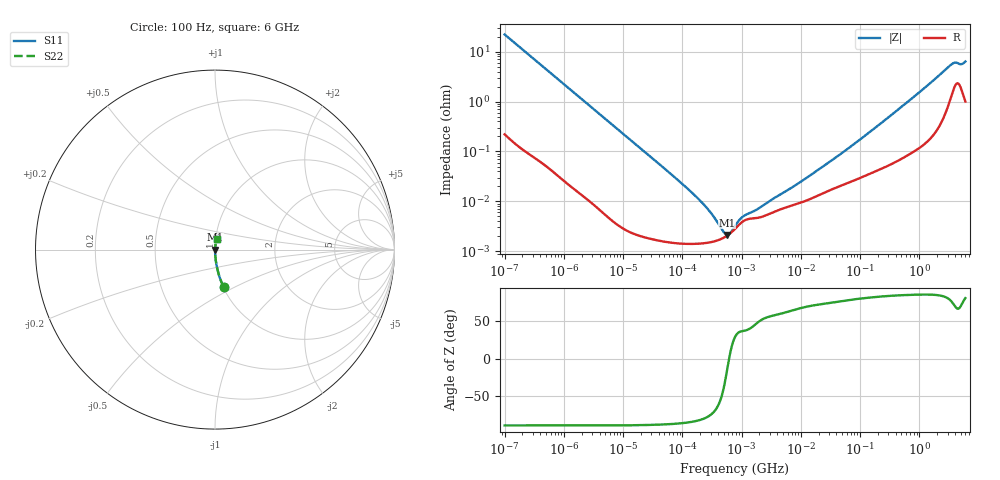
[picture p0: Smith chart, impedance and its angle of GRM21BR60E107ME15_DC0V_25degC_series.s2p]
!Murata Part Number: GRM21BR60E107ME15
!These Parameters are Measured in Series Mode Connection
!  o--ll--o
!Port1  Port2
!  o------o
!Operation Temp=25[degC], DC Bias Voltage=0[V]
!Freq. Start=100[Hz] Stop=6[GHz], 401[Steps]
!Data Generated on Oct 1, 2020
# Hz S RI R 50
!Freq.(Hz) S11(Real) S11(Imag) S21(Real) S21(Imag) S12(Real) S12(Imag) S22(Real) S22(Imag)
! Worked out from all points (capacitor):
!   401 points, 100 Hz to 6 GHz, reference 50 ohm
!   read as one part in series: C = 71.9 uF near 109.4 Hz
!   lowest |Z| = 2.14 mohm at 566.2 kHz (marker M1)
!   series resonance near 616.2 kHz, so ESL is about 930 pH
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100  0.0484 -0.2098  0.9516 0.2098  0.9516 0.2098  0.0484 -0.2098
187.1696  0.0149 -0.1165  0.9851 0.1165  0.9851 0.1165  0.0149 -0.1165
334.9849  0.0051 -0.066  0.9949 0.066  0.9949 0.066  0.0051 -0.066
717.1279  0.00133 -0.0312  0.9987 0.0312  0.9987 0.0312  0.00133 -0.0312
2008.354  0.00026 -0.0112  0.9997 0.0112  0.9997 0.0112  0.00026 -0.0112
40334.87  1.66e-05 -0.000565  1 0.000565  1 0.000565  1.66e-05 -0.000565
98761.63  1.43e-05 -0.000226  1 0.000226  1 0.000226  1.43e-05 -0.000226
202168.9  1.43e-05 -0.000101  1 0.000101  1 0.000101  1.43e-05 -0.000101
231233.3  1.45e-05 -8.51e-05  1 8.51e-05  1 8.51e-05  1.45e-05 -8.51e-05
566184.5  2.05e-05 -6.1e-06  1 6.1e-06  1 6.1e-06  2.05e-05 -6.1e-06
774596.7  2.81e-05 1.55e-05  1 -1.55e-05  1 -1.55e-05  2.81e-05 1.55e-05
2594782  5.28e-05 7.48e-05  0.9999 -7.48e-05  0.9999 -7.48e-05  5.28e-05 7.48e-05
2967816  5.65e-05 8.47e-05  0.9999 -8.47e-05  0.9999 -8.47e-05  5.65e-05 8.47e-05
7266822  8.34e-05 0.000175  0.9999 -0.000175  0.9999 -0.000175  8.34e-05 0.000175
1.555665e7  0.000116 0.000335  0.9999 -0.000335  0.9999 -0.000335  0.000116 0.000335
6.233367e7  0.000235 0.00111  0.9998 -0.00111  0.9998 -0.00111  0.000235 0.00111
3.124326e8  0.000557 0.00497  0.9994 -0.00497  0.9994 -0.00497  0.000557 0.00497
1.197065e9  0.00171 0.0182  0.9983 -0.0182  0.9983 -0.0182  0.00171 0.0182
3.352442e9  0.0137 0.0511  0.9863 -0.0511  0.9863 -0.0511  0.0137 0.0511
3.8344e9  0.0209 0.0545  0.9791 -0.0545  0.9791 -0.0545  0.0209 0.0545
5.016141e9  0.0211 0.0506  0.9789 -0.0506  0.9789 -0.0506  0.0211 0.0506
6e9  0.0137 0.0613  0.9863 -0.0613  0.9863 -0.0613  0.0137 0.0613
